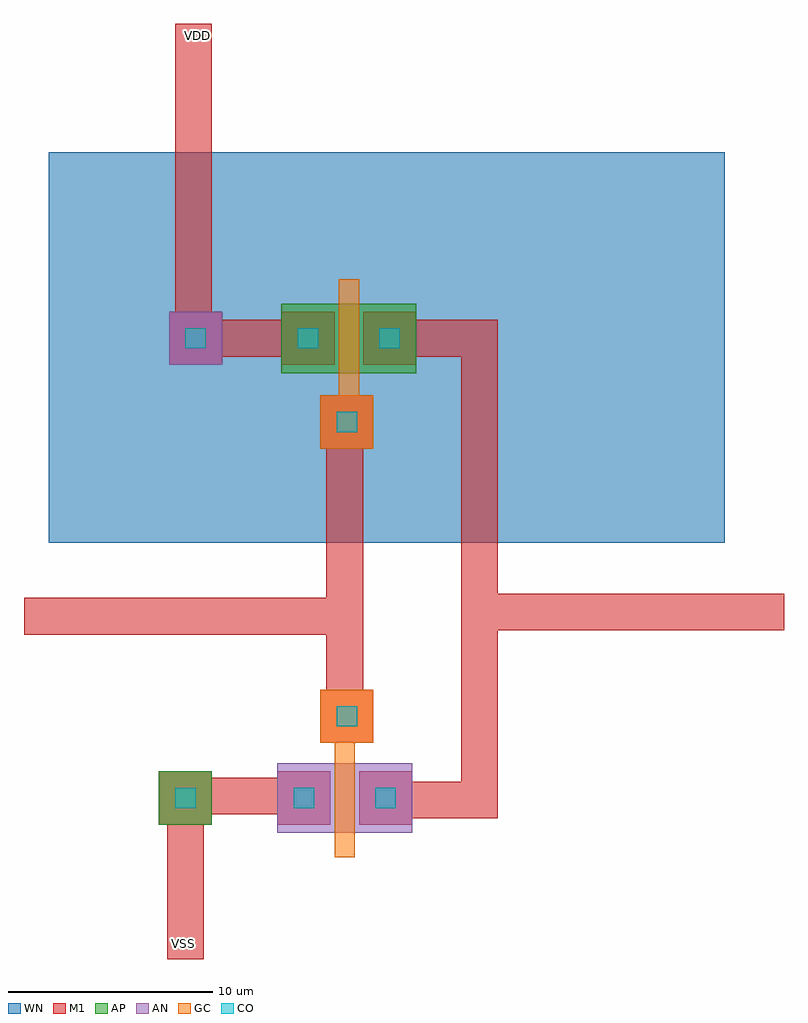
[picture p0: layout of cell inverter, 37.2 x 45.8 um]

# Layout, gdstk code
import gdstk
lib = gdstk.Library(unit=1e-6, precision=1e-07)
def R(c, l, rs):  # rectangles x0, y0, x1, y1
    for r in rs: c.add(gdstk.rectangle(r[:2], r[2:], *l))
def P(c, l, *ps):  # polygons
    for p in ps: c.add(gdstk.Polygon(p, *l))
AP = (3, 1)
AN = (3, 2)
GC = (8, 1)
CO = (11, 0)
M1 = (13, 0)
WN = (140, 0)

fet_p = lib.new_cell('fet_p')
R(fet_p, AP, [(-3.3,-1.7,3.3,1.7)])
R(fet_p, CO, [(-2.5,-0.5,-1.5,0.5), (1.5,-0.5,2.5,0.5)])
R(fet_p, M1, [(-3.3,-1.3,-0.7,1.3), (0.7,-1.3,3.3,1.3)])
fet_p.add(gdstk.FlexPath([(0,-2.9),(0,2.9)], 1, ends="flush", simple_path=True, layer=8, datatype=1))  # GC

cont_n = lib.new_cell('cont_n')
R(cont_n, AN, [(-1.3,-1.3,1.3,1.3)])
R(cont_n, CO, [(-0.5,-0.5,0.5,0.5)])
R(cont_n, M1, [(-1.3,-1.3,1.3,1.3)])

cont_g = lib.new_cell('cont_g')
R(cont_g, GC, [(-1.3,-1.3,1.3,1.3)])
R(cont_g, CO, [(-0.5,-0.5,0.5,0.5)])
R(cont_g, M1, [(-1.3,-1.3,1.3,1.3)])

fet_n = lib.new_cell('fet_n')
R(fet_n, AN, [(-3.3,-1.7,3.3,1.7)])
R(fet_n, CO, [(-2.5,-0.5,-1.5,0.5), (1.5,-0.5,2.5,0.5)])
R(fet_n, M1, [(-3.3,-1.3,-0.7,1.3), (0.7,-1.3,3.3,1.3)])
fet_n.add(gdstk.FlexPath([(0,-2.9),(0,2.9)], 1, ends="flush", simple_path=True, layer=8, datatype=1))  # GC

cont_p = lib.new_cell('cont_p')
R(cont_p, AP, [(-1.3,-1.3,1.3,1.3)])
R(cont_p, CO, [(-0.5,-0.5,0.5,0.5)])
R(cont_p, M1, [(-1.3,-1.3,1.3,1.3)])

inverter = lib.new_cell('inverter')
P(inverter, WN, [(-14.4,-6.3),(-14.4,12.8),(7.3,12.8),(18.7,12.8),(18.7,-6.3)])
inverter.add(gdstk.FlexPath([(-1,3.7),(-7.3,3.7),(-7.3,19.1)], 1.8, ends="flush", simple_path=True, layer=13, datatype=0))  # M1
inverter.add(gdstk.FlexPath([(0.6,-9.9),(-15.6,-9.9)], 1.8, ends="flush", simple_path=True, layer=13, datatype=0))  # M1
inverter.add(gdstk.FlexPath([(5.8,-9.7),(21.6,-9.7)], 1.8, ends="flush", simple_path=True, layer=13, datatype=0))  # M1
inverter.add(gdstk.FlexPath([(-0.8,-18.7),(-7.7,-18.7),(-7.7,-26.7)], 1.8, ends="flush", simple_path=True, layer=13, datatype=0))  # M1
inverter.add(gdstk.FlexPath([(1.4,3.7),(6.7,3.7),(6.7,-18.9),(1,-18.9)], 1.8, ends="flush", simple_path=True, layer=13, datatype=0))  # M1
inverter.add(gdstk.FlexPath([(0.1,0.2),(0.1,-15.6)], 1.8, ends="flush", simple_path=True, layer=13, datatype=0))  # M1
inverter.add(gdstk.Reference(fet_p, (0.3,3.7)))
inverter.add(gdstk.Reference(cont_n, (-7.2,3.7)))
inverter.add(gdstk.Reference(cont_g, (0.2,-0.4)))
inverter.add(gdstk.Reference(fet_n, (0.1,-18.8)))
inverter.add(gdstk.Reference(cont_g, (0.2,-14.8)))
inverter.add(gdstk.Reference(cont_p, (-7.7,-18.8)))
inverter.add(gdstk.Label('VDD', (-7.1,18.5), layer=48, texttype=0))
inverter.add(gdstk.Label('VSS', (-7.8,-25.9), layer=48, texttype=0))

lib.write_gds('inverter.gds')
